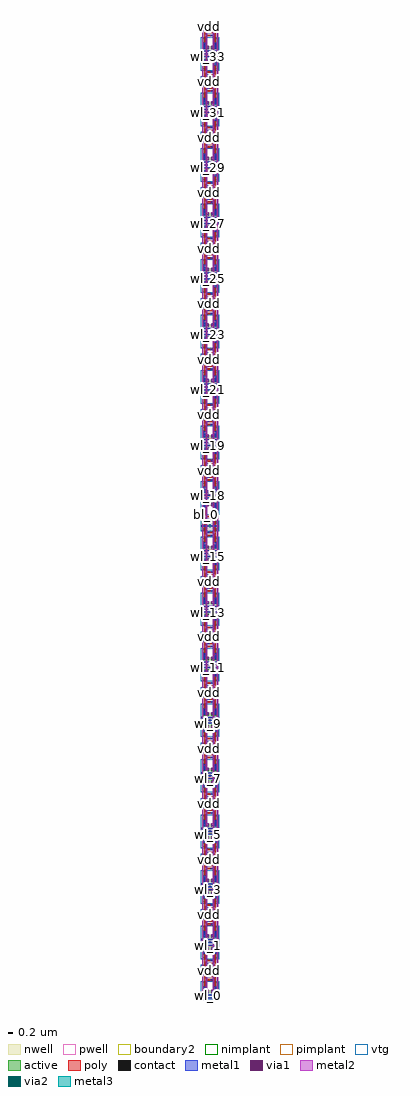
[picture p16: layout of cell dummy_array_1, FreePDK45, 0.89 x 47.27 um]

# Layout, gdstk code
import gdstk
lib = gdstk.Library(unit=1e-6, precision=5e-10)
def R(c, l, rs):  # rectangles x0, y0, x1, y1
    for r in rs: c.add(gdstk.rectangle(r[:2], r[2:], *l))
def A(c, l, x, y, w, h, nx, ny, dx, dy):  # array of equal rectangles
    R(c, l, [(x+i*dx, y+j*dy, x+i*dx+w, y+j*dy+h) for i in range(nx) for j in range(ny)])
active = (1, 0)
pwell = (2, 0)
nwell = (3, 0)
nimplant = (4, 0)
pimplant = (5, 0)
vtg = (6, 0)
poly = (9, 0)
contact = (10, 0)
metal1 = (11, 0)
via1 = (12, 0)
metal2 = (13, 0)
via2 = (14, 0)
metal3 = (15, 0)
boundary2 = (239, 0)

dummy_cell_6t = lib.new_cell('dummy_cell_6t')
R(dummy_cell_6t, active, [(0.3025,-0.045,0.3925,0.045), (0.3025,-0.045,0.3925,0.045), (0.045,0.2275,0.305,0.3625), (0.045,0.2275,0.12,0.3625), (0.045,0.2275,0.12,0.3625), (0.23,0.2275,0.305,0.3625), (0.23,0.2275,0.305,0.3625), (0.4,0.2275,0.66,0.3625), (0.4,0.2275,0.475,0.3625), (0.4,0.2275,0.475,0.3625), (0.585,0.2275,0.66,0.3625), (0.585,0.2275,0.66,0.3625), (0.045,0.2875,0.12,0.3625), (0.23,0.2875,0.305,0.3625), (0.4,0.2875,0.475,0.3625), (0.585,0.2875,0.66,0.3625), (-0.035,0.5475,0.225,0.7525), (-0.035,0.5475,0.04,0.7525), (-0.035,0.5475,0.04,0.7525), (0.15,0.5475,0.225,0.7525), (0.15,0.5475,0.225,0.7525), (0.48,0.5475,0.74,0.7525), (0.48,0.5475,0.555,0.7525), (0.48,0.5475,0.555,0.7525), (0.665,0.5475,0.74,0.7525), (0.665,0.5475,0.74,0.7525), (-0.035,0.6775,0.04,0.7525), (0.15,0.6775,0.225,0.7525), (0.48,0.6775,0.555,0.7525), (0.665,0.6775,0.74,0.7525), (-0.035,1.1425,0.04,1.2175), (-0.035,1.1425,0.225,1.2325), (-0.035,1.1425,0.04,1.2325), (-0.035,1.1425,0.04,1.2325), (0.15,1.1425,0.225,1.2175), (0.15,1.1425,0.225,1.2325), (0.15,1.1425,0.225,1.2325), (0.48,1.1425,0.555,1.2175), (0.48,1.1425,0.74,1.2325), (0.48,1.1425,0.555,1.2325), (0.48,1.1425,0.555,1.2325), (0.665,1.1425,0.74,1.2175), (0.665,1.1425,0.74,1.2325), (0.665,1.1425,0.74,1.2325), (0.3025,1.3,0.3925,1.39), (0.3025,1.3,0.3925,1.39)])
R(dummy_cell_6t, pwell, [(-0.09,-0.1,0.795,0.8075), (0.2475,-0.1,0.4475,0.1), (0.2475,-0.1,0.4475,0.1), (-0.01,0.1725,0.36,0.4175), (0.345,0.1725,0.715,0.4175), (-0.09,0.4925,0.28,0.8075), (0.425,0.4925,0.795,0.8075)])
R(dummy_cell_6t, nwell, [(-0.09,1.0875,0.28,1.2875), (-0.09,1.0875,0.795,1.445), (0.425,1.0875,0.795,1.2875), (0.2475,1.245,0.4475,1.445), (0.2475,1.245,0.4475,1.445)])
R(dummy_cell_6t, nimplant, [(0.045,0.2275,0.305,0.3625), (0.4,0.2275,0.66,0.3625), (-0.035,0.5475,0.225,0.7525), (0.48,0.5475,0.74,0.7525), (0.3025,1.3,0.3925,1.39), (0.3025,1.3,0.3925,1.39)])
R(dummy_cell_6t, pimplant, [(0.3025,-0.045,0.3925,0.045), (-0.035,1.1425,0.225,1.2325), (0.48,1.1425,0.74,1.2325)])
R(dummy_cell_6t, vtg, [(-0.09,-0.1,0.795,0.8075), (-0.01,0.1725,0.36,0.4175), (0.345,0.1725,0.715,0.4175), (-0.09,0.4925,0.28,0.8075), (0.425,0.4925,0.795,0.8075), (-0.09,1.0875,0.28,1.2875), (-0.09,1.0875,0.795,1.445), (0.425,1.0875,0.795,1.2875)])
R(dummy_cell_6t, poly, [(0.07,0.1025,0.635,0.1775), (0.2975,0.1025,0.3725,0.1775), (0.15,0.1725,0.2,0.2275), (0.15,0.1725,0.2,0.4175), (0.505,0.1725,0.555,0.2275), (0.505,0.1725,0.555,0.4175), (0.15,0.3625,0.2,0.4175), (0.505,0.3625,0.555,0.4175), (0.07,0.4925,0.12,0.5475), (0.07,0.4925,0.12,0.8075), (0.585,0.4925,0.635,0.5475), (0.585,0.4925,0.635,0.8075), (0.07,0.7525,0.12,0.8075), (0.585,0.7525,0.635,0.8075), (0.07,0.8075,0.12,1.0875), (0.07,0.8075,0.12,1.0875), (0.585,0.8075,0.635,1.0875), (0.585,0.8075,0.635,1.0875), (0.07,0.8425,0.5025,0.9175), (0.4275,0.8425,0.5025,0.9175), (0.4275,0.8425,0.5025,0.9175), (0.2025,0.9925,0.2775,1.0675), (0.2025,0.9925,0.2775,1.0675), (0.2025,0.9925,0.635,1.0675), (0.07,1.0875,0.12,1.1425), (0.07,1.0875,0.12,1.2875), (0.585,1.0875,0.635,1.1425), (0.585,1.0875,0.635,1.2875), (0.07,1.2325,0.12,1.2875), (0.585,1.2325,0.635,1.2875)])
R(dummy_cell_6t, contact, [(0.315,-0.0325,0.38,0.0325), (0.32,-0.0325,0.385,0.0325), (0.3025,0.1075,0.3675,0.1725), (0.05,0.2925,0.115,0.3575), (0.235,0.2925,0.3,0.3575), (0.405,0.2925,0.47,0.3575), (0.59,0.2925,0.655,0.3575), (-0.03,0.6825,0.035,0.7475), (0.155,0.6825,0.22,0.7475), (0.485,0.6825,0.55,0.7475), (0.67,0.6825,0.735,0.7475), (0.4325,0.8475,0.4975,0.9125), (0.4325,0.8475,0.4975,0.9125), (0.2075,0.9975,0.2725,1.0625), (0.2075,0.9975,0.2725,1.0625), (-0.03,1.1475,0.035,1.2125), (0.155,1.1475,0.22,1.2125), (0.485,1.1475,0.55,1.2125), (0.67,1.1475,0.735,1.2125), (0.315,1.3125,0.38,1.3775)])
R(dummy_cell_6t, metal1, [(-0.09,-0.0325,0.795,0.0325), (-0.0675,-0.0325,0.0675,0.0325), (-0.0675,-0.0325,0.0675,0.0325), (0.285,-0.0325,0.42,0.0325), (0.285,-0.0325,0.42,0.0325), (0.6375,-0.0325,0.7725,0.0325), (0.6375,-0.0325,0.7725,0.0325), (0.6375,-0.0325,0.7725,0.0325), (0.6375,-0.0325,0.7725,0.0325), (-0.09,0.1075,0.795,0.1725), (-0.09,0.1075,0.795,0.1725), (0.2675,0.1075,0.4025,0.1725), (-0.085,0.11,-0.0325,0.1725), (0.62,0.11,0.6725,0.1725), (0.05,0.2575,0.115,0.3925), (0.05,0.2575,0.12,0.5475), (0.2225,0.2575,0.2875,0.3925), (0.235,0.2575,0.3,0.3925), (0.405,0.2575,0.47,0.3925), (0.4175,0.2575,0.4825,0.3925), (0.59,0.2575,0.655,0.3925), (0.59,0.2575,0.66,0.5475), (0.05,0.4825,0.22,0.5475), (0.155,0.4825,0.22,1.2225), (0.485,0.4825,0.66,0.5475), (0.485,0.4825,0.55,1.1125), (-0.035,0.6475,0.035,0.7825), (-0.035,0.6475,0.035,0.7825), (-0.03,0.6475,0.035,0.7825), (0.155,0.6475,0.22,0.7825), (0.485,0.6475,0.55,0.7825), (0.67,0.6475,0.735,0.7825), (0.67,0.6475,0.74,0.7825), (0.67,0.6475,0.74,0.7825), (0.67,0.6475,0.74,0.7825), (0.67,0.6475,0.74,0.7825), (0.67,0.6475,0.74,0.7825), (0.67,0.6475,0.74,0.7825), (-0.0325,0.75,0.0325,0.885), (-0.0325,0.75,0.0325,0.885), (-0.0325,0.75,0.0325,0.885), (-0.0325,0.75,0.0325,0.885), (-0.0325,0.75,0.0325,0.885), (-0.0325,0.75,0.0325,0.885), (0.6725,0.75,0.7375,0.885), (0.6725,0.75,0.7375,0.885), (0.6725,0.75,0.7375,0.885), (0.6725,0.75,0.7375,0.885), (0.6725,0.75,0.7375,0.885), (0.6725,0.75,0.7375,0.885), (0.6725,0.75,0.7375,0.885), (0.6725,0.75,0.7375,0.885), (0.6725,0.75,0.7375,0.885), (0.6725,0.75,0.7375,0.885), (0.6725,0.75,0.7375,0.885), (0.6725,0.75,0.7375,0.885), (0.6725,0.75,0.7375,0.885), (0.6725,0.75,0.7375,0.885), (0.6725,0.75,0.7375,0.885), (0.6725,0.75,0.7375,0.885), (0.6725,0.75,0.7375,0.885), (0.6725,0.75,0.7375,0.885), (0.6725,0.75,0.7375,0.885), (0.6725,0.75,0.7375,0.885), (0.6725,0.75,0.7375,0.885), (0.6725,0.75,0.7375,0.885), (0.6725,0.75,0.7375,0.885), (0.6725,0.75,0.7375,0.885), (0.3975,0.8475,0.5325,0.9125), (0.3975,0.8475,0.5325,0.9125), (0.1725,0.9975,0.3075,1.0625), (0.1725,0.9975,0.3075,1.0625), (-0.035,1.1125,0.035,1.3125), (-0.03,1.1125,0.035,1.2475), (0.155,1.1125,0.22,1.2475), (0.485,1.1125,0.55,1.2475), (0.67,1.1125,0.735,1.2475), (0.67,1.1125,0.74,1.3125), (0.67,1.1125,0.74,1.3125), (-0.09,1.3125,0.795,1.3775)])
R(dummy_cell_6t, via1, [(-0.0325,-0.0325,0.0325,0.0325), (-0.0325,-0.0325,0.0325,0.0325), (0.6725,-0.0325,0.7375,0.0325), (0.6725,-0.0325,0.7375,0.0325), (0.6725,-0.0325,0.7375,0.0325), (0.6725,-0.0325,0.7375,0.0325), (-0.0325,0.785,0.0325,0.85), (-0.0325,0.785,0.0325,0.85), (-0.0325,0.785,0.0325,0.85), (-0.0325,0.785,0.0325,0.85), (-0.0325,0.785,0.0325,0.85), (-0.0325,0.785,0.0325,0.85), (0.6725,0.785,0.7375,0.85), (0.6725,0.785,0.7375,0.85), (0.6725,0.785,0.7375,0.85), (0.6725,0.785,0.7375,0.85), (0.6725,0.785,0.7375,0.85), (0.6725,0.785,0.7375,0.85), (0.6725,0.785,0.7375,0.85), (0.6725,0.785,0.7375,0.85), (0.6725,0.785,0.7375,0.85), (0.6725,0.785,0.7375,0.85), (0.6725,0.785,0.7375,0.85), (0.6725,0.785,0.7375,0.85), (0.6725,0.785,0.7375,0.85), (0.6725,0.785,0.7375,0.85), (0.6725,0.785,0.7375,0.85), (0.6725,0.785,0.7375,0.85), (0.6725,0.785,0.7375,0.85), (0.6725,0.785,0.7375,0.85), (0.6725,0.785,0.7375,0.85), (0.6725,0.785,0.7375,0.85), (0.6725,0.785,0.7375,0.85), (0.6725,0.785,0.7375,0.85), (0.6725,0.785,0.7375,0.85), (0.6725,0.785,0.7375,0.85), (0.315,1.3125,0.38,1.3775)])
R(dummy_cell_6t, metal2, [(-0.035,-0.1,0.035,1.445), (0.15,-0.1,0.22,1.445), (0.15,-0.1,0.22,1.445), (0.485,-0.1,0.555,1.445), (0.485,-0.1,0.555,1.445), (0.67,-0.1,0.74,1.445), (-0.0675,-0.035,0.0675,0.035), (-0.0675,-0.035,0.0675,0.035), (-0.0675,-0.035,0.0675,0.035), (0.6375,-0.035,0.7725,0.035), (0.6375,-0.035,0.7725,0.035), (0.6375,-0.035,0.7725,0.035), (0.6375,-0.035,0.7725,0.035), (0.4925,-0.0325,0.55,0.0275), (0.67,-0.0325,0.74,1.3775), (-0.03,-0.03,0.03,0.0275), (0.1575,-0.025,0.2125,0.0275), (0.675,-0.025,0.735,0.0325), (0.22,0.2575,0.29,0.3925), (0.415,0.2575,0.485,0.3925), (-0.035,0.75,0.035,0.885), (-0.035,0.75,0.035,0.885), (-0.035,0.75,0.035,0.885), (-0.035,0.75,0.035,0.885), (-0.035,0.75,0.035,0.885), (-0.035,0.75,0.035,0.885), (0.67,0.75,0.74,0.885), (0.67,0.75,0.74,0.885), (0.67,0.75,0.74,0.885), (0.67,0.75,0.74,0.885), (0.67,0.75,0.74,0.885), (0.67,0.75,0.74,0.885), (0.67,0.75,0.74,0.885), (0.67,0.75,0.74,0.885), (0.67,0.75,0.74,0.885), (0.67,0.75,0.74,0.885), (0.67,0.75,0.74,0.885), (0.67,0.75,0.74,0.885), (0.67,0.75,0.74,0.885), (0.67,0.75,0.74,0.885), (0.67,0.75,0.74,0.885), (0.67,0.75,0.74,0.885), (0.67,0.75,0.74,0.885), (0.67,0.75,0.74,0.885), (0.67,0.75,0.74,0.885), (0.67,0.75,0.74,0.885), (0.67,0.75,0.74,0.885), (0.67,0.75,0.74,0.885), (0.67,0.75,0.74,0.885), (0.67,0.75,0.74,0.885), (0.3125,1.2775,0.3825,1.4125), (0.3125,1.2775,0.3825,1.4125)])
R(dummy_cell_6t, boundary2, [(0,0,0.705,1.345)])
dummy_cell_6t.add(gdstk.Label('wl', (-0.05,0.147), layer=11, texttype=0))
dummy_cell_6t.add(gdstk.Label('vdd', (0.368,1.355), layer=13, texttype=0))
dummy_cell_6t.add(gdstk.Label('gnd', (-0.0475,0.015), layer=13, texttype=0))
dummy_cell_6t.add(gdstk.Label('br', (0.52,0.003), layer=13, texttype=0))
dummy_cell_6t.add(gdstk.Label('bl', (0.19,0.003), layer=13, texttype=0))
dummy_cell_6t.add(gdstk.Label('bl', (0.185,0.6725), layer=13, texttype=0))
dummy_cell_6t.add(gdstk.Label('br', (0.52,0.6725), layer=13, texttype=0))
dummy_cell_6t.add(gdstk.Label('wl', (0.3525,0.14), layer=11, texttype=0))
dummy_cell_6t.add(gdstk.Label('vdd', (0.3475,1.345), layer=13, texttype=0))
dummy_cell_6t.add(gdstk.Label('gnd', (0,0), layer=13, texttype=0))

contact_13 = lib.new_cell('contact_13')
R(contact_13, metal2, [(0,0,0.07,0.135)])
R(contact_13, via2, [(0.0025,0.035,0.0675,0.1)])
R(contact_13, metal3, [(0,0,0.07,0.135)])

dummy_array_1 = lib.new_cell('dummy_array_1')
R(dummy_array_1, metal1, [(-0.09,0.1075,0.615,0.1725), (-0.09,2.5175,0.615,2.5825), (-0.09,2.7975,0.615,2.8625), (-0.09,5.2075,0.615,5.2725), (-0.09,5.4875,0.615,5.5525), (-0.09,7.8975,0.615,7.9625), (-0.09,8.1775,0.615,8.2425), (-0.09,10.5875,0.615,10.6525), (-0.09,10.8675,0.615,10.9325), (-0.09,13.2775,0.615,13.3425), (-0.09,13.5575,0.615,13.6225), (-0.09,15.9675,0.615,16.0325), (-0.09,16.2475,0.615,16.3125), (-0.09,18.6575,0.615,18.7225), (-0.09,18.9375,0.615,19.0025), (-0.09,21.3475,0.615,21.4125), (-0.09,21.6275,0.615,21.6925), (-0.09,24.0375,0.615,24.1025), (-0.09,24.3175,0.615,24.3825), (-0.09,26.7275,0.615,26.7925), (-0.09,27.0075,0.615,27.0725), (-0.09,29.4175,0.615,29.4825), (-0.09,29.6975,0.615,29.7625), (-0.09,32.1075,0.615,32.1725), (-0.09,32.3875,0.615,32.4525), (-0.09,34.7975,0.615,34.8625), (-0.09,35.0775,0.615,35.1425), (-0.09,37.4875,0.615,37.5525), (-0.09,37.7675,0.615,37.8325), (-0.09,40.1775,0.615,40.2425), (-0.09,40.4575,0.615,40.5225), (-0.09,42.8675,0.615,42.9325), (-0.09,43.1475,0.615,43.2125), (-0.09,45.5575,0.615,45.6225), (-0.09,45.8375,0.615,45.9025)])
R(dummy_array_1, metal2, [(0.15,-0.1,0.22,46.975), (0.485,-0.1,0.555,46.975)])
A(dummy_array_1, metal3, -0.035, -0.0675, 0.07, 0.135, 1, 18, 0, 2.69)
A(dummy_array_1, metal3, 0.3125, 1.2775, 0.07, 0.135, 1, 18, 0, 2.69)
R(dummy_array_1, boundary2, [(0,0,0.705,47.075)])
dummy_array_1.add(gdstk.Reference(dummy_cell_6t, (0,0)))
dummy_array_1.add(gdstk.Reference(dummy_cell_6t, (0,2.69), x_reflection=True))
dummy_array_1.add(gdstk.Reference(dummy_cell_6t, (0,2.69)))
dummy_array_1.add(gdstk.Reference(dummy_cell_6t, (0,5.38), x_reflection=True))
dummy_array_1.add(gdstk.Reference(dummy_cell_6t, (0,5.38)))
dummy_array_1.add(gdstk.Reference(dummy_cell_6t, (0,8.07), x_reflection=True))
dummy_array_1.add(gdstk.Reference(dummy_cell_6t, (0,8.07)))
dummy_array_1.add(gdstk.Reference(dummy_cell_6t, (0,10.76), x_reflection=True))
dummy_array_1.add(gdstk.Reference(dummy_cell_6t, (0,10.76)))
dummy_array_1.add(gdstk.Reference(dummy_cell_6t, (0,13.45), x_reflection=True))
dummy_array_1.add(gdstk.Reference(dummy_cell_6t, (0,13.45)))
dummy_array_1.add(gdstk.Reference(dummy_cell_6t, (0,16.14), x_reflection=True))
dummy_array_1.add(gdstk.Reference(dummy_cell_6t, (0,16.14)))
dummy_array_1.add(gdstk.Reference(dummy_cell_6t, (0,18.83), x_reflection=True))
dummy_array_1.add(gdstk.Reference(dummy_cell_6t, (0,18.83)))
dummy_array_1.add(gdstk.Reference(dummy_cell_6t, (0,21.52), x_reflection=True))
dummy_array_1.add(gdstk.Reference(dummy_cell_6t, (0,21.52)))
dummy_array_1.add(gdstk.Reference(dummy_cell_6t, (0,24.21), x_reflection=True))
dummy_array_1.add(gdstk.Reference(dummy_cell_6t, (0,24.21)))
dummy_array_1.add(gdstk.Reference(dummy_cell_6t, (0,26.9), x_reflection=True))
dummy_array_1.add(gdstk.Reference(dummy_cell_6t, (0,26.9)))
dummy_array_1.add(gdstk.Reference(dummy_cell_6t, (0,29.59), x_reflection=True))
dummy_array_1.add(gdstk.Reference(dummy_cell_6t, (0,29.59)))
dummy_array_1.add(gdstk.Reference(dummy_cell_6t, (0,32.28), x_reflection=True))
dummy_array_1.add(gdstk.Reference(dummy_cell_6t, (0,32.28)))
dummy_array_1.add(gdstk.Reference(dummy_cell_6t, (0,34.97), x_reflection=True))
dummy_array_1.add(gdstk.Reference(dummy_cell_6t, (0,34.97)))
dummy_array_1.add(gdstk.Reference(dummy_cell_6t, (0,37.66), x_reflection=True))
dummy_array_1.add(gdstk.Reference(dummy_cell_6t, (0,37.66)))
dummy_array_1.add(gdstk.Reference(dummy_cell_6t, (0,40.35), x_reflection=True))
dummy_array_1.add(gdstk.Reference(dummy_cell_6t, (0,40.35)))
dummy_array_1.add(gdstk.Reference(dummy_cell_6t, (0,43.04), x_reflection=True))
dummy_array_1.add(gdstk.Reference(dummy_cell_6t, (0,43.04)))
dummy_array_1.add(gdstk.Reference(dummy_cell_6t, (0,45.73), x_reflection=True))
dummy_array_1.add(gdstk.Reference(dummy_cell_6t, (0,45.73)))
dummy_array_1.add(gdstk.Reference(contact_13, (0.3125,1.2775)))
dummy_array_1.add(gdstk.Reference(contact_13, (-0.035,-0.0675)))
dummy_array_1.add(gdstk.Reference(contact_13, (0.3125,1.2775)))
dummy_array_1.add(gdstk.Reference(contact_13, (-0.035,2.6225)))
dummy_array_1.add(gdstk.Reference(contact_13, (0.3125,3.9675)))
dummy_array_1.add(gdstk.Reference(contact_13, (-0.035,2.6225)))
dummy_array_1.add(gdstk.Reference(contact_13, (0.3125,3.9675)))
dummy_array_1.add(gdstk.Reference(contact_13, (-0.035,5.3125)))
dummy_array_1.add(gdstk.Reference(contact_13, (0.3125,6.6575)))
dummy_array_1.add(gdstk.Reference(contact_13, (-0.035,5.3125)))
dummy_array_1.add(gdstk.Reference(contact_13, (0.3125,6.6575)))
dummy_array_1.add(gdstk.Reference(contact_13, (-0.035,8.0025)))
dummy_array_1.add(gdstk.Reference(contact_13, (0.3125,9.3475)))
dummy_array_1.add(gdstk.Reference(contact_13, (-0.035,8.0025)))
dummy_array_1.add(gdstk.Reference(contact_13, (0.3125,9.3475)))
dummy_array_1.add(gdstk.Reference(contact_13, (-0.035,10.6925)))
dummy_array_1.add(gdstk.Reference(contact_13, (0.3125,12.0375)))
dummy_array_1.add(gdstk.Reference(contact_13, (-0.035,10.6925)))
dummy_array_1.add(gdstk.Reference(contact_13, (0.3125,12.0375)))
dummy_array_1.add(gdstk.Reference(contact_13, (-0.035,13.3825)))
dummy_array_1.add(gdstk.Reference(contact_13, (0.3125,14.7275)))
dummy_array_1.add(gdstk.Reference(contact_13, (-0.035,13.3825)))
dummy_array_1.add(gdstk.Reference(contact_13, (0.3125,14.7275)))
dummy_array_1.add(gdstk.Reference(contact_13, (-0.035,16.0725)))
dummy_array_1.add(gdstk.Reference(contact_13, (0.3125,17.4175)))
dummy_array_1.add(gdstk.Reference(contact_13, (-0.035,16.0725)))
dummy_array_1.add(gdstk.Reference(contact_13, (0.3125,17.4175)))
dummy_array_1.add(gdstk.Reference(contact_13, (-0.035,18.7625)))
dummy_array_1.add(gdstk.Reference(contact_13, (0.3125,20.1075)))
dummy_array_1.add(gdstk.Reference(contact_13, (-0.035,18.7625)))
dummy_array_1.add(gdstk.Reference(contact_13, (0.3125,20.1075)))
dummy_array_1.add(gdstk.Reference(contact_13, (-0.035,21.4525)))
dummy_array_1.add(gdstk.Reference(contact_13, (0.3125,22.7975)))
dummy_array_1.add(gdstk.Reference(contact_13, (-0.035,21.4525)))
dummy_array_1.add(gdstk.Reference(contact_13, (0.3125,22.7975)))
dummy_array_1.add(gdstk.Reference(contact_13, (-0.035,24.1425)))
dummy_array_1.add(gdstk.Reference(contact_13, (0.3125,25.4875)))
dummy_array_1.add(gdstk.Reference(contact_13, (-0.035,24.1425)))
dummy_array_1.add(gdstk.Reference(contact_13, (0.3125,25.4875)))
dummy_array_1.add(gdstk.Reference(contact_13, (-0.035,26.8325)))
dummy_array_1.add(gdstk.Reference(contact_13, (0.3125,28.1775)))
dummy_array_1.add(gdstk.Reference(contact_13, (-0.035,26.8325)))
dummy_array_1.add(gdstk.Reference(contact_13, (0.3125,28.1775)))
dummy_array_1.add(gdstk.Reference(contact_13, (-0.035,29.5225)))
dummy_array_1.add(gdstk.Reference(contact_13, (0.3125,30.8675)))
dummy_array_1.add(gdstk.Reference(contact_13, (-0.035,29.5225)))
dummy_array_1.add(gdstk.Reference(contact_13, (0.3125,30.8675)))
dummy_array_1.add(gdstk.Reference(contact_13, (-0.035,32.2125)))
dummy_array_1.add(gdstk.Reference(contact_13, (0.3125,33.5575)))
dummy_array_1.add(gdstk.Reference(contact_13, (-0.035,32.2125)))
dummy_array_1.add(gdstk.Reference(contact_13, (0.3125,33.5575)))
dummy_array_1.add(gdstk.Reference(contact_13, (-0.035,34.9025)))
dummy_array_1.add(gdstk.Reference(contact_13, (0.3125,36.2475)))
dummy_array_1.add(gdstk.Reference(contact_13, (-0.035,34.9025)))
dummy_array_1.add(gdstk.Reference(contact_13, (0.3125,36.2475)))
dummy_array_1.add(gdstk.Reference(contact_13, (-0.035,37.5925)))
dummy_array_1.add(gdstk.Reference(contact_13, (0.3125,38.9375)))
dummy_array_1.add(gdstk.Reference(contact_13, (-0.035,37.5925)))
dummy_array_1.add(gdstk.Reference(contact_13, (0.3125,38.9375)))
dummy_array_1.add(gdstk.Reference(contact_13, (-0.035,40.2825)))
dummy_array_1.add(gdstk.Reference(contact_13, (0.3125,41.6275)))
dummy_array_1.add(gdstk.Reference(contact_13, (-0.035,40.2825)))
dummy_array_1.add(gdstk.Reference(contact_13, (0.3125,41.6275)))
dummy_array_1.add(gdstk.Reference(contact_13, (-0.035,42.9725)))
dummy_array_1.add(gdstk.Reference(contact_13, (0.3125,44.3175)))
dummy_array_1.add(gdstk.Reference(contact_13, (-0.035,42.9725)))
dummy_array_1.add(gdstk.Reference(contact_13, (0.3125,44.3175)))
dummy_array_1.add(gdstk.Reference(contact_13, (-0.035,45.6625)))
dummy_array_1.add(gdstk.Reference(contact_13, (0.3125,47.0075)))
dummy_array_1.add(gdstk.Reference(contact_13, (-0.035,45.6625)))
dummy_array_1.add(gdstk.Label('bl_0', (0.185,23.4375), layer=13, texttype=0))
dummy_array_1.add(gdstk.Label('br_0', (0.52,23.4375), layer=13, texttype=0))
dummy_array_1.add(gdstk.Label('wl_0', (0.2625,0.14), layer=11, texttype=0))
dummy_array_1.add(gdstk.Label('wl_1', (0.2625,2.55), layer=11, texttype=0))
dummy_array_1.add(gdstk.Label('wl_2', (0.2625,2.83), layer=11, texttype=0))
dummy_array_1.add(gdstk.Label('wl_3', (0.2625,5.24), layer=11, texttype=0))
dummy_array_1.add(gdstk.Label('wl_4', (0.2625,5.52), layer=11, texttype=0))
dummy_array_1.add(gdstk.Label('wl_5', (0.2625,7.93), layer=11, texttype=0))
dummy_array_1.add(gdstk.Label('wl_6', (0.2625,8.21), layer=11, texttype=0))
dummy_array_1.add(gdstk.Label('wl_7', (0.2625,10.62), layer=11, texttype=0))
dummy_array_1.add(gdstk.Label('wl_8', (0.2625,10.9), layer=11, texttype=0))
dummy_array_1.add(gdstk.Label('wl_9', (0.2625,13.31), layer=11, texttype=0))
dummy_array_1.add(gdstk.Label('wl_10', (0.2625,13.59), layer=11, texttype=0))
dummy_array_1.add(gdstk.Label('wl_11', (0.2625,16), layer=11, texttype=0))
dummy_array_1.add(gdstk.Label('wl_12', (0.2625,16.28), layer=11, texttype=0))
dummy_array_1.add(gdstk.Label('wl_13', (0.2625,18.69), layer=11, texttype=0))
dummy_array_1.add(gdstk.Label('wl_14', (0.2625,18.97), layer=11, texttype=0))
dummy_array_1.add(gdstk.Label('wl_15', (0.2625,21.38), layer=11, texttype=0))
dummy_array_1.add(gdstk.Label('wl_16', (0.2625,21.66), layer=11, texttype=0))
dummy_array_1.add(gdstk.Label('wl_17', (0.2625,24.07), layer=11, texttype=0))
dummy_array_1.add(gdstk.Label('wl_18', (0.2625,24.35), layer=11, texttype=0))
dummy_array_1.add(gdstk.Label('wl_19', (0.2625,26.76), layer=11, texttype=0))
dummy_array_1.add(gdstk.Label('wl_20', (0.2625,27.04), layer=11, texttype=0))
dummy_array_1.add(gdstk.Label('wl_21', (0.2625,29.45), layer=11, texttype=0))
dummy_array_1.add(gdstk.Label('wl_22', (0.2625,29.73), layer=11, texttype=0))
dummy_array_1.add(gdstk.Label('wl_23', (0.2625,32.14), layer=11, texttype=0))
dummy_array_1.add(gdstk.Label('wl_24', (0.2625,32.42), layer=11, texttype=0))
dummy_array_1.add(gdstk.Label('wl_25', (0.2625,34.83), layer=11, texttype=0))
dummy_array_1.add(gdstk.Label('wl_26', (0.2625,35.11), layer=11, texttype=0))
dummy_array_1.add(gdstk.Label('wl_27', (0.2625,37.52), layer=11, texttype=0))
dummy_array_1.add(gdstk.Label('wl_28', (0.2625,37.8), layer=11, texttype=0))
dummy_array_1.add(gdstk.Label('wl_29', (0.2625,40.21), layer=11, texttype=0))
dummy_array_1.add(gdstk.Label('wl_30', (0.2625,40.49), layer=11, texttype=0))
dummy_array_1.add(gdstk.Label('wl_31', (0.2625,42.9), layer=11, texttype=0))
dummy_array_1.add(gdstk.Label('wl_32', (0.2625,43.18), layer=11, texttype=0))
dummy_array_1.add(gdstk.Label('wl_33', (0.2625,45.59), layer=11, texttype=0))
dummy_array_1.add(gdstk.Label('wl_34', (0.2625,45.87), layer=11, texttype=0))
dummy_array_1.add(gdstk.Label('vdd', (0.3475,12.105), layer=15, texttype=0))
dummy_array_1.add(gdstk.Label('vdd', (0.3475,30.935), layer=15, texttype=0))
dummy_array_1.add(gdstk.Label('vdd', (0.3475,1.345), layer=15, texttype=0))
dummy_array_1.add(gdstk.Label('vdd', (0.3475,9.415), layer=15, texttype=0))
dummy_array_1.add(gdstk.Label('vdd', (0.3475,20.175), layer=15, texttype=0))
dummy_array_1.add(gdstk.Label('vdd', (0.3475,33.625), layer=15, texttype=0))
dummy_array_1.add(gdstk.Label('vdd', (0.3475,36.315), layer=15, texttype=0))
dummy_array_1.add(gdstk.Label('vdd', (0.3475,41.695), layer=15, texttype=0))
dummy_array_1.add(gdstk.Label('vdd', (0.3475,4.035), layer=15, texttype=0))
dummy_array_1.add(gdstk.Label('vdd', (0.3475,28.245), layer=15, texttype=0))
dummy_array_1.add(gdstk.Label('vdd', (0.3475,47.075), layer=15, texttype=0))
dummy_array_1.add(gdstk.Label('vdd', (0.3475,44.385), layer=15, texttype=0))
dummy_array_1.add(gdstk.Label('vdd', (0.3475,25.555), layer=15, texttype=0))
dummy_array_1.add(gdstk.Label('vdd', (0.3475,6.725), layer=15, texttype=0))
dummy_array_1.add(gdstk.Label('vdd', (0.3475,17.485), layer=15, texttype=0))
dummy_array_1.add(gdstk.Label('vdd', (0.3475,22.865), layer=15, texttype=0))
dummy_array_1.add(gdstk.Label('vdd', (0.3475,14.795), layer=15, texttype=0))
dummy_array_1.add(gdstk.Label('vdd', (0.3475,39.005), layer=15, texttype=0))
dummy_array_1.add(gdstk.Label('gnd', (0,5.38), layer=15, texttype=0))
dummy_array_1.add(gdstk.Label('gnd', (0,0), layer=15, texttype=0))
dummy_array_1.add(gdstk.Label('gnd', (0,32.28), layer=15, texttype=0))
dummy_array_1.add(gdstk.Label('gnd', (0,2.69), layer=15, texttype=0))
dummy_array_1.add(gdstk.Label('gnd', (0,43.04), layer=15, texttype=0))
dummy_array_1.add(gdstk.Label('gnd', (0,24.21), layer=15, texttype=0))
dummy_array_1.add(gdstk.Label('gnd', (0,8.07), layer=15, texttype=0))
dummy_array_1.add(gdstk.Label('gnd', (0,29.59), layer=15, texttype=0))
dummy_array_1.add(gdstk.Label('gnd', (0,10.76), layer=15, texttype=0))
dummy_array_1.add(gdstk.Label('gnd', (0,26.9), layer=15, texttype=0))
dummy_array_1.add(gdstk.Label('gnd', (0,37.66), layer=15, texttype=0))
dummy_array_1.add(gdstk.Label('gnd', (0,45.73), layer=15, texttype=0))
dummy_array_1.add(gdstk.Label('gnd', (0,13.45), layer=15, texttype=0))
dummy_array_1.add(gdstk.Label('gnd', (0,16.14), layer=15, texttype=0))
dummy_array_1.add(gdstk.Label('gnd', (0,21.52), layer=15, texttype=0))
dummy_array_1.add(gdstk.Label('gnd', (0,34.97), layer=15, texttype=0))
dummy_array_1.add(gdstk.Label('gnd', (0,18.83), layer=15, texttype=0))
dummy_array_1.add(gdstk.Label('gnd', (0,40.35), layer=15, texttype=0))

lib.write_gds('dummy_array_1.gds')
